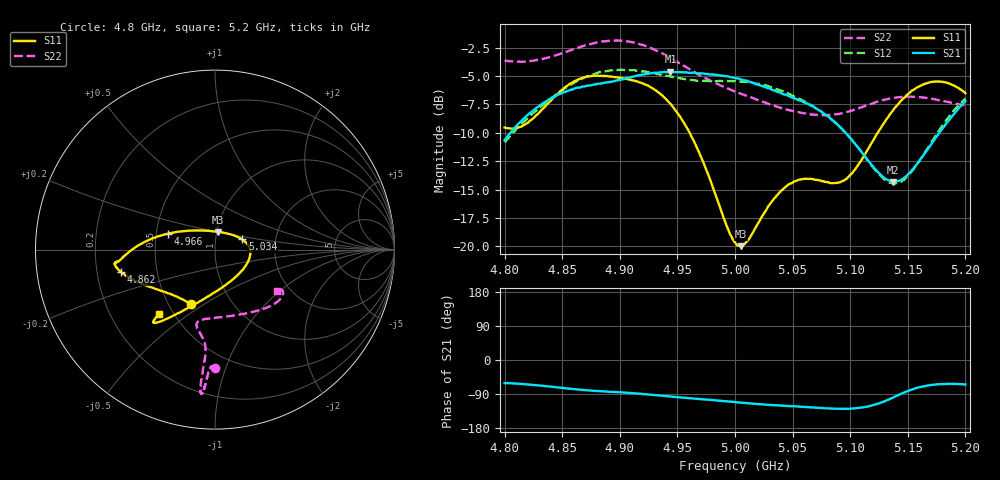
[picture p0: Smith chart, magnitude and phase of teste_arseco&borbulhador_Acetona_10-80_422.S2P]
! Network Analyzer HP8722D
! Hewlett-Packard
! Data name: Linha & Wilkinson
! Saver's name: Rodrigo Anjos
! Comments: Teste da utilização de aquisição
! continua pelo VNA HP8722D
! Time and date: 17/4/2025 17:52
!  Frequency  S11  S21  S12  S22
# HZ  S  MA R 50
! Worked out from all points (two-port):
!   401 points, 4.8 GHz to 5.2 GHz, reference 50 ohm
!   highest |S21| = -4.63 dB at 4.944 GHz (marker M1); lowest = -14.3 dB at 5.137 GHz (marker M2)
!   |S21| within 3 dB of the highest: 4.83 GHz to 5.066 GHz (235.8 MHz wide, 4.77 % of centre); 5.196128 GHz to end of sweep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
!   lowest |S11| = -20.0 dB at 5.005 GHz (marker M3), VSWR 1.22, Z = 50.5 + j10.1 ohm
!   |S11| at or under -10 dB: 4.961 GHz to 5.124 GHz (163.4 MHz wide, 3.24 % of centre)
!   |S22| runs from -8.5 to -1.9 dB; largest |S21 - S12| = 0.88
!   S11 on the Smith chart (normalised r, x): 4.8 GHz: 0.64, -0.44; 4.862 GHz: 0.31, -0.11; 4.966 GHz: 0.57, +0.11; 5.034 GHz: 1.35, +0.16; 5.2 GHz: 0.42, -0.39
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4.8e9  0.3336 -113.7  0.293 -60.9  0.2868 -174.9  0.658 -90.1
4.819e9  0.3477 -133.8  0.3748 -64.2  0.3625 -173.8  0.653 -91.7
4.862e9  0.5371 -166.4  0.4982 -77.3  0.5315 -177.1  0.7446 -93.9
4.867e9  0.5502 -168.3  0.5043 -78.7  0.5455 -178.1  0.7585 -94.2
4.901e9  0.5522 -172.8  0.5422 -85.5  0.6001 175.1  0.8047 -95.6
4.934e9  0.4745 -178.8  0.5818 -93.7  0.574 171.8  0.7171 -95.9
4.944e9  0.4241 176.5  0.5866 -96.5  0.5592 171.8  0.674 -95.8
4.966e9  0.2789 161.6  0.5799 -102.2  0.5371 173.7  0.5803 -95.2
5e9  0.104 98.5  0.5506 -111.2  0.5342 176.0  0.4799 -99.3
5.005e9  0.1001 81.4  0.5444 -112.5  0.5312 176.0  0.4695 -100.5
5.012e9  0.1074 59.4  0.5302 -114.4  0.5265 175.9  0.4554 -102.1
5.034e9  0.1623 20.5  0.4854 -119.4  0.4972 174.7  0.4166 -103.6
5.05e9  0.1907 4.2  0.4512 -122.1  0.4605 174.0  0.3947 -99.7
5.067e9  0.1976 -14.1  0.4156 -125.0  0.416 173.7  0.3812 -90.5
5.085e9  0.1896 -42.4  0.358 -128.5  0.3575 173.6  0.3804 -77.0
5.097e9  0.1985 -67.1  0.3119 -128.7  0.3121 174.7  0.3904 -67.1
5.134e9  0.3784 -117.1  0.1945 -103.5  0.1908 -156.4  0.4468 -43.0
5.137e9  0.3954 -118.8  0.1921 -99.4  0.1893 -151.6  0.4501 -41.7
5.15e9  0.4673 -124.7  0.2067 -82.0  0.204 -131.6  0.4558 -36.7
5.17e9  0.5288 -129.4  0.2791 -66.0  0.2854 -112.3  0.4468 -32.1
5.184e9  0.5248 -130.7  0.3509 -63.1  0.3624 -107.3  0.4332 -31.1
5.2e9  0.4721 -131.0  0.435 -64.6  0.4475 -106.6  0.4163 -33.5
